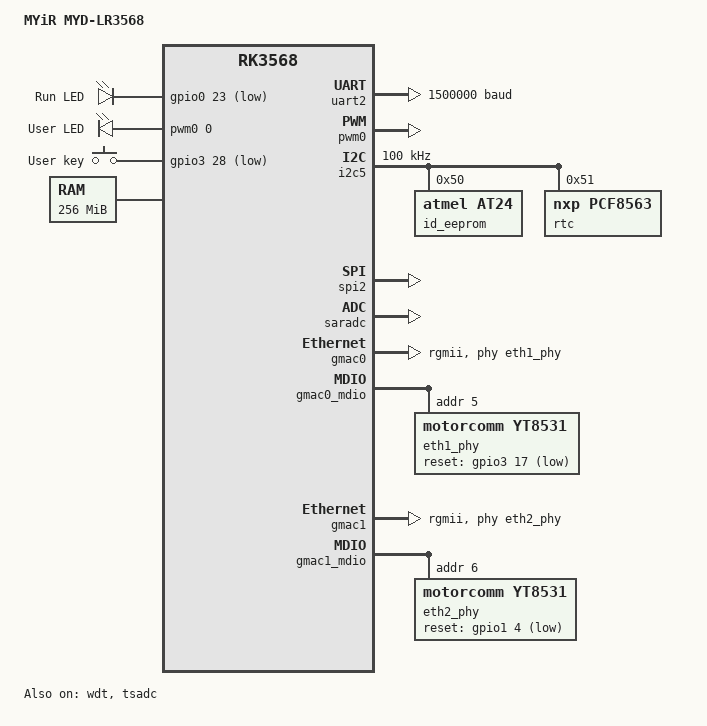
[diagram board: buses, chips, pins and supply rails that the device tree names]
/*
 * SPDX-FileCopyrightText: Copyright The Zephyr Project Contributors
 * SPDX-License-Identifier: Apache-2.0
 */

/dts-v1/;

#include <arm64/rockchip/rk3568.dtsi>
#include <common/mem.h>
#include <zephyr/dt-bindings/gpio/gpio.h>
#include <zephyr/dt-bindings/i2c/i2c.h>
#include <zephyr/dt-bindings/input/input-event-codes.h>
#include <zephyr/dt-bindings/pwm/pwm.h>

/ {
	model = "MYiR MYD-LR3568";
	compatible = "myir,myd-lr3568", "rockchip,rk3568";

	chosen {
		zephyr,console = &uart2;
		zephyr,shell-uart = &uart2;
		zephyr,sram = &sram0;
	};

	aliases {
		led0 = &run_led;
		pwm-led0 = &user_led;
		sw0 = &user_key;
		watchdog0 = &wdt;
		rtc = &rtc;
		die-temp0 = &tsadc;
	};

	leds {
		compatible = "gpio-leds";

		/* D23, green, also on J14 pin 31 */
		run_led: led-run {
			gpios = <&gpio0 23 GPIO_ACTIVE_LOW>;	/* GPIO0_C7 */
			label = "Run LED";
		};
	};

	pwmleds {
		compatible = "pwm-leds";

		/* D24, red, also on J14 pin 32: GPIO0_B7, driven by PWM0 M0 */
		user_led: led-user {
			pwms = <&pwm0 0 PWM_MSEC(20) PWM_POLARITY_INVERTED>;
			label = "User LED";
		};
	};

	gpio_keys {
		compatible = "gpio-keys";

		/* J14 pin 34, 10 kOhm pull-up on the board: short to GND to press */
		user_key: key-user {
			gpios = <&gpio3 28 GPIO_ACTIVE_LOW>;	/* GPIO3_D4 */
			label = "User key";
			zephyr,code = <INPUT_KEY_HOME>;
		};
	};

	firmware {
		/* SCMI clock protocol, provided by TF-A BL31 */
		scmi {
			compatible = "arm,scmi-smc";
			arm,smc-id = <0x82000010>;
			shmem = <&scmi_shmem>;
			#address-cells = <1>;
			#size-cells = <0>;

			scmi_clk: protocol@14 {
				compatible = "arm,scmi-clock";
				reg = <0x14>;
				#clock-cells = <1>;
			};
		};
	};

	scmi_shmem: sram@10f000 {
		compatible = "arm,scmi-shmem";
		reg = <0x10f000 DT_SIZE_K(4)>;
	};

	sram0: memory@40000000 {
		device_type = "memory";
		compatible = "mmio-sram";
		reg = <0x40000000 DT_SIZE_M(256)>;
	};
};

&pinctrl {
	/* GPIO3_D4 resets with the SoC pull-down on, fighting the 10 kOhm pull-up */
	user_key_pins: user-key-pins {
		group0 {
			pinmux = <RK_PINMUX(3, RK_PD4, RK_FUNC_GPIO)>;
			bias-pull-up;
		};
	};
};

&uart2 {
	pinctrl-0 = <&uart2m0_xfer>;
	pinctrl-names = "default";
	status = "okay";
	current-speed = <1500000>;
};

&gpio0 {
	status = "okay";
};

&gpio3 {
	pinctrl-0 = <&user_key_pins>;
	pinctrl-names = "default";
	status = "okay";
};

&wdt {
	status = "okay";
};

&pwm0 {
	pinctrl-0 = <&pwm0m0_pins>;
	pinctrl-names = "default";
	status = "okay";
};

&i2c5 {
	pinctrl-0 = <&i2c5m0_xfer>;
	pinctrl-names = "default";
	clock-frequency = <I2C_BITRATE_STANDARD>;
	status = "okay";

	/* On the core module: the board's part & serial numbers. Never written. */
	id_eeprom: eeprom@50 {
		compatible = "atmel,at24";
		reg = <0x50>;
		size = <DT_SIZE_K(4)>;
		pagesize = <32>;
		address-width = <16>;
		timeout = <5>;
		read-only;
	};

	/* U12, LK8563T: register compatible with the PCF8563 */
	rtc: rtc@51 {
		compatible = "nxp,pcf8563";
		reg = <0x51>;
	};
};

/* SPI2 M1 on J13: MOSI pin 19, MISO pin 21, SCLK pin 23, CS0 pin 24 */
&spi2 {
	pinctrl-0 = <&spi2m1_pins &spi2m1_cs0>;
	pinctrl-names = "default";
	status = "okay";
};

&tsadc {
	status = "okay";
};

/*
 * Channel 0: the S2 & S5 key ladder (S2 ~447 mV, S5 ~17 mV, released 1.8 V).
 * Channels 1 & 2: J14 pins 35 & 36. The reference is VCCA_1V8.
 */
&saradc {
	vref-mv = <1800>;
	status = "okay";
};

/*
 * ETH1: GMAC0 to a YT8531 strapped to MDIO address 5. ETH2's PHY reset line
 * (GPIO1_A4) is powered from VCCIO1, i.e. RK809 LDO4, which the boot loader
 * turns on. The MAC addresses are locally administered placeholders: the
 * board stores none (its ID EEPROM holds only the part & serial numbers).
 */
&gmac0 {
	pinctrl-0 = <&gmac0_rgmii_pins>;
	pinctrl-names = "default";
	phy-handle = <&eth1_phy>;
	phy-connection-type = "rgmii";
	local-mac-address = [02 00 00 35 68 01];
	tx-delay = <0x27>;
	rx-delay = <0x31>;
	status = "okay";
};

&gmac0_mdio {
	eth1_phy: ethernet-phy@5 {
		compatible = "motorcomm,yt8531";
		reg = <5>;
		reset-gpios = <&gpio3 17 GPIO_ACTIVE_LOW>;	/* GPIO3_C1 */
	};
};

/* ETH2: GMAC1 (M1 pins) to a YT8531 strapped to MDIO address 6 */
&gmac1 {
	pinctrl-0 = <&gmac1m1_rgmii_pins>;
	pinctrl-names = "default";
	phy-handle = <&eth2_phy>;
	phy-connection-type = "rgmii";
	local-mac-address = [02 00 00 35 68 02];
	tx-delay = <0x29>;
	rx-delay = <0x24>;
	status = "okay";
};

&gmac1_mdio {
	eth2_phy: ethernet-phy@6 {
		compatible = "motorcomm,yt8531";
		reg = <6>;
		reset-gpios = <&gpio1 4 GPIO_ACTIVE_LOW>;	/* GPIO1_A4 */
	};
};

&gpio1 {
	status = "okay";
};
